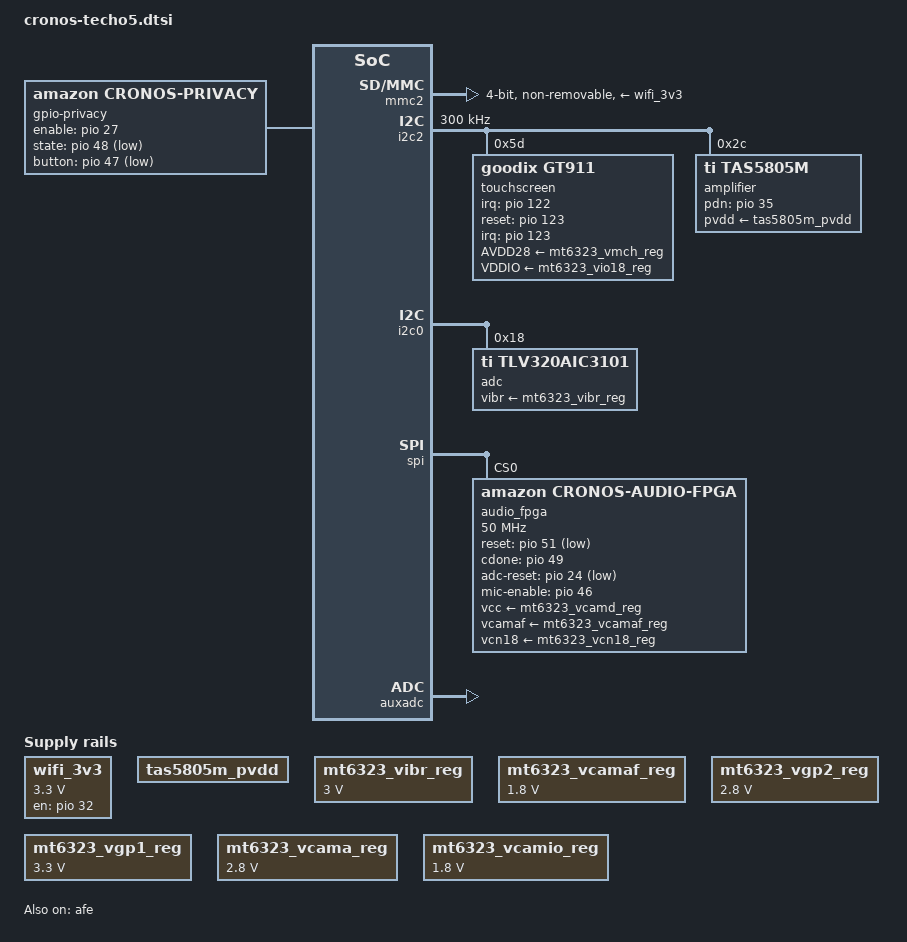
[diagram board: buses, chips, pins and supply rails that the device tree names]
// SPDX-License-Identifier: GPL-2.0-only OR MIT
/*
 * TECHO5 additions for the Echo Show 5 (2021, cronos) on top of linux-mtk's mt8163-amazon-cronos.dtsi:
 * the MT7668 Wi-Fi/Bluetooth combo on the MSDC2 SDIO controller, and the Goodix touch controller.
 * Values from Amazon's 4.9 cronos.dtsi (android_kernel_amazon_mt8163, cronos/lineage-18.1).
 */

/ {
	/* MT7668 PMU enable, EINT10: the combo chip's power. Amazon's tree asserts it 500 ms before use. */
	wifi_3v3: regulator-wifi {
		compatible = "regulator-fixed";
		regulator-name = "wifi_3v3";
		regulator-min-microvolt = <3300000>;
		regulator-max-microvolt = <3300000>;
		gpio = <&pio 32 GPIO_ACTIVE_HIGH>;
		enable-active-high;
		startup-delay-us = <500000>;
		regulator-boot-on;
	};
};

&mmc2 {
	pinctrl-names = "default", "state_uhs";
	pinctrl-0 = <&mmc2_pins_default>;
	pinctrl-1 = <&mmc2_pins_uhs>;
	bus-width = <4>;
	max-frequency = <50000000>;
	cap-sd-highspeed;
	cap-sdio-irq;
	keep-power-in-suspend;
	non-removable;
	no-mmc;
	no-sd;
	vmmc-supply = <&wifi_3v3>;
	vqmmc-supply = <&mt6323_vio18_reg>;
	assigned-clocks = <&topckgen CLK_TOP_MSDC30_2_SEL>;
	assigned-clock-parents = <&topckgen CLK_TOP_MSDCPLL_D2>;
	status = "okay";
};

&i2c2 {
	clock-frequency = <300000>;
	pinctrl-names = "default";
	pinctrl-0 = <&i2c2_pins_default>;
	status = "okay";

	/* Goodix GT9xx at 0x5d, reset pio 123, interrupt pio 122; the input device is "goodix-ts" on 4.9
	   (the FocalTech node in Amazon's tree is for other builds). Mainline's driver reads the exact part
	   from the chip; gt911 is the generic GT9xx binding. The Goodix analog supply is VMCH. */
	touchscreen@5d {
		compatible = "goodix,gt911";
		reg = <0x5d>;
		interrupt-parent = <&pio>;
		interrupts = <123 IRQ_TYPE_EDGE_FALLING>;
		irq-gpios = <&pio 122 GPIO_ACTIVE_HIGH>;
		reset-gpios = <&pio 123 GPIO_ACTIVE_HIGH>;
		AVDD28-supply = <&mt6323_vmch_reg>;
		VDDIO-supply = <&mt6323_vio18_reg>;
	};
};

/* The pvt_4_1 board uses a TAS5805M on I2C2 with the MONO_MINI tuning.
 * PVDD is board-fixed; GPIO 35 releases power-down when driven high.
 */
&afe {
	status = "okay";
};

/ {
	tas5805m_pvdd: regulator-tas5805m-pvdd {
		compatible = "regulator-fixed";
		regulator-name = "tas5805m_pvdd";
		regulator-always-on;
		regulator-boot-on;
	};
};

&i2c2 {
	amplifier: amplifier@2c {
		compatible = "ti,tas5805m";
		reg = <0x2c>;
		pdn-gpios = <&pio 35 GPIO_ACTIVE_HIGH>;
		pvdd-supply = <&tas5805m_pvdd>;
		#sound-dai-cells = <0>;
	};
};

/*
 * The microphones. The TLV320AIC3101 ADC (i2c0 0x18, second address 0x19, enable pio 24, supply vibr)
 * clocks from the AFE's I2S1 MCLK on pin 6 and drives I2S into an iCE40 FPGA on the SPI controller,
 * which packs mic L/R and the playback loopback into 4-channel frames (Amazon's cronos.dtsi:
 * spi@0 "amzn-mtk,spi-audio-pltfm", reset pio 51, CDONE pio 49, ADC reset pio 24, mic enable pio 46).
 * The FPGA's bitstream comes from the unit's 4.9 kernel (tools/extract-fpga-fw.py).
 */
&i2c0 {
	adc: adc@18 {
		compatible = "ti,tlv320aic3101";
		reg = <0x18>;
		clocks = <&clk26m>;
		clock-names = "mclk";
		vibr-supply = <&mt6323_vibr_reg>;
		disable_reset = <1>;		/* the FPGA driver pulses the reset line */
		#sound-dai-cells = <0>;
	};
};

&mt6323_vibr_reg {
	regulator-min-microvolt = <3000000>;
	regulator-max-microvolt = <3000000>;
	regulator-always-on;
	regulator-boot-on;
};

/* FPGA VCCIO2, as configured by Amazon's cronos.dtsi. VCCIO0 is fixed 1.8 V (VCN18). */
&mt6323_vcamaf_reg {
	regulator-min-microvolt = <1800000>;
	regulator-max-microvolt = <1800000>;
};

&spi {
	pinctrl-names = "default";
	pinctrl-0 = <&spi_pins_default>;
	status = "okay";

	audio_fpga: fpga@0 {
		compatible = "amazon,cronos-audio-fpga";
		reg = <0>;
		spi-max-frequency = <50000000>;
		vcc-supply = <&mt6323_vcamd_reg>;
		vcamaf-supply = <&mt6323_vcamaf_reg>;
		vcn18-supply = <&mt6323_vcn18_reg>;
		reset-gpios = <&pio 51 GPIO_ACTIVE_LOW>;	/* CRESET, low = in reset */
		cdone-gpios = <&pio 49 GPIO_ACTIVE_HIGH>;
		adc-reset-gpios = <&pio 24 GPIO_ACTIVE_LOW>;
		mic-enable-gpios = <&pio 46 GPIO_ACTIVE_HIGH>;
		pinctrl-names = "default", "cs-low", "i2s-off", "i2s-on";
		pinctrl-0 = <&fpga_pins_default>;
		pinctrl-1 = <&fpga_pins_cs_low>;
		pinctrl-2 = <&aud_pins_i2s1_gpio>;
		pinctrl-3 = <&aud_pins_i2s1>;
	};
};

/ {
	sound {
		compatible = "amazon,cronos-audio";
		model = "mt8163-cronos";
		mediatek,platform = <&afe>;
		pinctrl-names = "default";
		pinctrl-0 = <&aud_pins_default>;

		dai-link-i2s1 {
			link-name = "I2S1_BE";
			codec {
				sound-dai = <&amplifier>;
			};
		};

		dai-link-spi {
			link-name = "SPI_Capture";
			codec {
				sound-dai = <&adc>;
			};
		};
	};
};

/* VGP2 supports 2.8 V, not the 3.3 V used by VGP1 and VGP3. */
&mt6323_vgp2_reg {
	regulator-min-microvolt = <2800000>;
	regulator-max-microvolt = <2800000>;
};

/* cpufreq's cooling device needs these; the thermal zone in mt8163.dtsi refers to cpu0 */
&cpu0 { #cooling-cells = <2>; };
&cpu1 { #cooling-cells = <2>; };
&cpu2 { #cooling-cells = <2>; };
&cpu3 { #cooling-cells = <2>; };

&mt6323_vgp1_reg {
	regulator-min-microvolt = <3300000>;
	regulator-max-microvolt = <3300000>;
	regulator-always-on;
	regulator-boot-on;
};

&pio {
	/* Amazon's aud_pins_default (I2S0 in and I2S3 out on the PCM pins) plus its audi2s1-mode1 (I2S1
	   out on pins 72-74, 8 mA) and aud_adc_mclk (the ADC's 24.576 MHz on pin 6), all in one state. */
	aud_pins_default: aud-default-pins {
		pins_i2s0_i2s3 {
			pinmux = <MT8163_PIN_18_PCM_CLK__FUNC_I2S0_BCK0>,
				 <MT8163_PIN_19_PCM_SYNC__FUNC_I2S0_LRCK>,
				 <MT8163_PIN_20_PCM_RX__FUNC_I2S0_DI>,
				 <MT8163_PIN_21_PCM_TX__FUNC_I2S3_DO>;
		};

		pins_mclk {
			pinmux = <MT8163_PIN_6_PWRAP_SPI0_CSN2__FUNC_I2S1_MCK>;
		};
	};

	/* I2S1 out on pins 72-74, to the amplifier and the FPGA: GPIO while the FPGA is programmed
	   (Amazon's audi2s1-mode0), the I2S function after (audi2s1-mode1, 8 mA). */
	aud_pins_i2s1_gpio: aud-i2s1-gpio-pins {
		pins {
			pinmux = <MT8163_PIN_72_I2S_DATA_IN__FUNC_GPIO72>,
				 <MT8163_PIN_73_I2S_LRCK__FUNC_GPIO73>,
				 <MT8163_PIN_74_I2S_BCK__FUNC_GPIO74>;
		};
	};

	aud_pins_i2s1: aud-i2s1-pins {
		pins {
			pinmux = <MT8163_PIN_72_I2S_DATA_IN__FUNC_I2S1_DO>,
				 <MT8163_PIN_73_I2S_LRCK__FUNC_I2S1_LRCK>,
				 <MT8163_PIN_74_I2S_BCK__FUNC_I2S1_BCK>;
			drive-strength = <MTK_DRIVE_8mA>;
		};
	};

	/* the controller's clock and data pins; the chip select belongs to the FPGA node below, which
	   needs to drive it by hand once */
	spi_pins_default: spi-pins {
		pins {
			pinmux = <MT8163_PIN_54_SPI_CK__FUNC_SPI_CLK>,
				 <MT8163_PIN_55_SPI_MI__FUNC_SPI_MI>,
				 <MT8163_PIN_56_SPI_MO__FUNC_SPI_MO>;
			bias-disable;
			drive-strength = <4>;
			input-schmitt-enable;
		};
	};

	/* the FPGA node's own states: the chip select back as the controller's, or a GPIO held low for
	   the iCE40's reset pulse (its SS must be low when CRESET rises) */
	fpga_pins_default: fpga-default-pins {
		pins {
			pinmux = <MT8163_PIN_53_SPI_CS__FUNC_SPI_CSB>;
			bias-disable;
			drive-strength = <4>;
			input-schmitt-enable;
		};
	};

	fpga_pins_cs_low: fpga-cs-low-pins {
		pins {
			pinmux = <MT8163_PIN_53_SPI_CS__FUNC_GPIO53>;
			output-low;
		};
	};

	i2c2_pins_default: i2c2-pins {
		pins {
			pinmux = <MT8163_PIN_77_SDA2__FUNC_SDA2_0>,
				 <MT8163_PIN_78_SCL2__FUNC_SCL2_0>;
			bias-disable;
		};
	};

	/* No input-enable on the MSDC2 pads: neither MediaTek's 4.9 pinctrl nor this tree has IES bits for
	   pins 85-90, so the setting fails with -EINVAL and the host never probes. Amazon's DT sets none. */
	mmc2_pins_default: mmc2-default-pins {
		pins_cmd_dat {
			pinmux = <MT8163_PIN_87_MSDC2_DAT0__FUNC_MSDC2_DAT0>,
				 <MT8163_PIN_88_MSDC2_DAT1__FUNC_MSDC2_DAT1>,
				 <MT8163_PIN_89_MSDC2_DAT2__FUNC_MSDC2_DAT2>,
				 <MT8163_PIN_90_MSDC2_DAT3__FUNC_MSDC2_DAT3>,
				 <MT8163_PIN_85_MSDC2_CMD__FUNC_MSDC2_CMD>;
			drive-strength = <MTK_DRIVE_6mA>;
			bias-pull-up = <MTK_PUPD_SET_R1R0_01>;
		};

		pins_clk {
			pinmux = <MT8163_PIN_86_MSDC2_CLK__FUNC_MSDC2_CLK>;
			drive-strength = <MTK_DRIVE_10mA>;
			bias-pull-down = <MTK_PUPD_SET_R1R0_10>;
		};

		/* EINT6: the combo chip's own power enable, high while the bus is used. */
		pins_dev_power {
			pinmux = <MT8163_PIN_28_EINT6__FUNC_GPIO28>;
			output-high;
		};
	};

	mmc2_pins_uhs: mmc2-uhs-pins {
		pins_cmd_dat {
			pinmux = <MT8163_PIN_87_MSDC2_DAT0__FUNC_MSDC2_DAT0>,
				 <MT8163_PIN_88_MSDC2_DAT1__FUNC_MSDC2_DAT1>,
				 <MT8163_PIN_89_MSDC2_DAT2__FUNC_MSDC2_DAT2>,
				 <MT8163_PIN_90_MSDC2_DAT3__FUNC_MSDC2_DAT3>;
			drive-strength = <MTK_DRIVE_6mA>;
			bias-pull-up = <MTK_PUPD_SET_R1R0_01>;
		};

		pins_cmd {
			pinmux = <MT8163_PIN_85_MSDC2_CMD__FUNC_MSDC2_CMD>;
			drive-strength = <MTK_DRIVE_8mA>;
			bias-pull-up = <MTK_PUPD_SET_R1R0_01>;
		};

		pins_clk {
			pinmux = <MT8163_PIN_86_MSDC2_CLK__FUNC_MSDC2_CLK>;
			drive-strength = <MTK_DRIVE_6mA>;
			bias-pull-down = <MTK_PUPD_SET_R1R0_10>;
		};

		pins_dev_power {
			pinmux = <MT8163_PIN_28_EINT6__FUNC_GPIO28>;
			output-high;
		};
	};
};

/ {
	gpio-privacy {
		compatible = "amazon,cronos-privacy";
		enable-gpios = <&pio 27 GPIO_ACTIVE_HIGH>;
		state-gpios = <&pio 48 GPIO_ACTIVE_LOW>;
		button-gpios = <&pio 47 GPIO_ACTIVE_LOW>;
	};
};

&pio {
	camera_clk: camera-clock-pins {
		pins {
			pinmux = <MT8163_PIN_119_CMMCLK__FUNC_CMMCLK>,
				 <MT8163_PIN_101_RDN0__FUNC_RDN0>,
				 <MT8163_PIN_102_RDP0__FUNC_RDP0>,
				 <MT8163_PIN_105_RCN__FUNC_RCN>,
				 <MT8163_PIN_106_RCP__FUNC_RCP>;
			bias-disable;
		};
	};
};

&mt6323_vcama_reg {
	regulator-min-microvolt = <2800000>;
	regulator-max-microvolt = <2800000>;
};

&mt6323_vcamio_reg {
	regulator-min-microvolt = <1800000>;
	regulator-max-microvolt = <1800000>;
};

&{/soc} {
	camera@15004000 {
		compatible = "amazon,cronos-camera";
		reg = <0 0x15004000 0 0x4000>,
		      <0 0x15008000 0 0x4000>,
		      <0 0x10217000 0 0x3000>;
		clocks = <&imgsys CLK_IMG_CAM_SMI>, <&imgsys CLK_IMG_CAM_CAM>,
			 <&imgsys CLK_IMG_SEN_TG>, <&imgsys CLK_IMG_SEN_CAM>;
		clock-names = "smi", "cam", "tg", "sen";
		assigned-clocks = <&topckgen CLK_TOP_CAMTG_SEL>;
		assigned-clock-parents = <&topckgen CLK_TOP_UNIV_48M>;
		power-domains = <&spm MT8163_POWER_DOMAIN_ISP>;
		iommus = <&iommu M4U_PORT_CAM_IMGO>;
		mediatek,larb = <&larb2>;
		sensor-bus = <&i2c0>;
		reset-gpios = <&pio 22 GPIO_ACTIVE_LOW>;
		standby-gpios = <&pio 23 GPIO_ACTIVE_LOW>;
		avdd-supply = <&mt6323_vcama_reg>;
		iovdd-supply = <&mt6323_vcamio_reg>;
		pinctrl-names = "default";
		pinctrl-0 = <&camera_clk>;
	};
};

/* The thermal controller shares the AUXADC analog front end. */
&auxadc {
	status = "okay";
};
